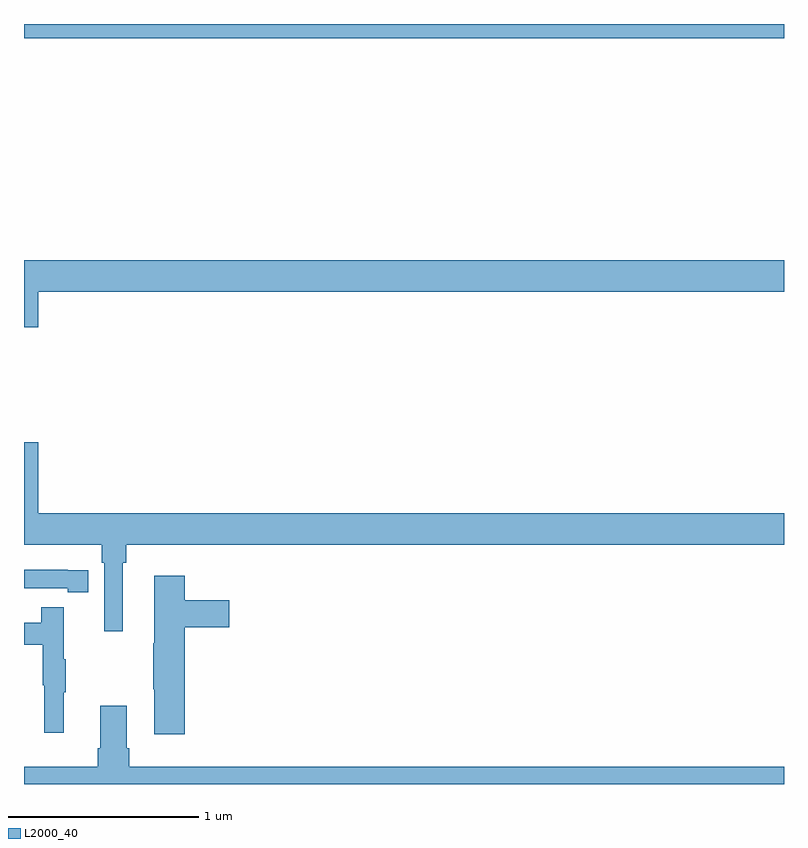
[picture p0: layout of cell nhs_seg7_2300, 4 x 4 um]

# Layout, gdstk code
import gdstk
lib = gdstk.Library(unit=1e-6, precision=1e-09)
def R(c, l, rs):  # rectangles x0, y0, x1, y1
    for r in rs: c.add(gdstk.rectangle(r[:2], r[2:], *l))
def P(c, l, *ps):  # polygons
    for p in ps: c.add(gdstk.Polygon(p, *l))
L2000_40 = (2000, 40)

nhs_seg7_2300 = lib.new_cell('nhs_seg7_2300')
R(nhs_seg7_2300, L2000_40, [(261,1025.924,265,1026)])
P(nhs_seg7_2300, L2000_40, [(261.076,1024.592),(265,1024.592),(265,1024.756),(261,1024.756),(261,1024.404),(261.076,1024.404)],
  [(261.52,1023.164),(261.539,1023.164),(261.539,1023.26),(265,1023.26),(265,1023.424),(261.076,1023.424),(261.076,1023.799),(261,1023.799),(261,1023.26),(261.41,1023.26),(261.41,1023.164),(261.423,1023.164),(261.423,1022.805),(261.52,1022.805)],
  [(261.338,1023.126),(261.23,1023.126),(261.23,1023.127),(261,1023.127),(261,1023.03),(261.23,1023.03),(261.23,1023.01),(261.338,1023.01)],
  [(261.845,1022.825),(262.081,1022.825),(262.081,1022.967),(261.845,1022.967),(261.845,1023.097),(261.686,1023.097),(261.686,1022.741),(261.679,1022.741),(261.679,1022.5),(261.686,1022.5),(261.686,1022.262),(261.845,1022.262)],
  [(261.209,1022.483),(261.22,1022.483),(261.22,1022.657),(261.209,1022.657),(261.209,1022.929),(261.091,1022.929),(261.091,1022.85),(261,1022.85),(261,1022.734),(261.099,1022.734),(261.099,1022.52),(261.106,1022.52),(261.106,1022.271),(261.209,1022.271)],
  [(265,1022.092),(261.554,1022.092),(261.554,1022.188),(261.541,1022.188),(261.541,1022.413),(261.401,1022.413),(261.401,1022.188),(261.389,1022.188),(261.389,1022.092),(261,1022.092),(261,1022),(265,1022)])

lib.write_gds('nhs_seg7_2300.gds')
